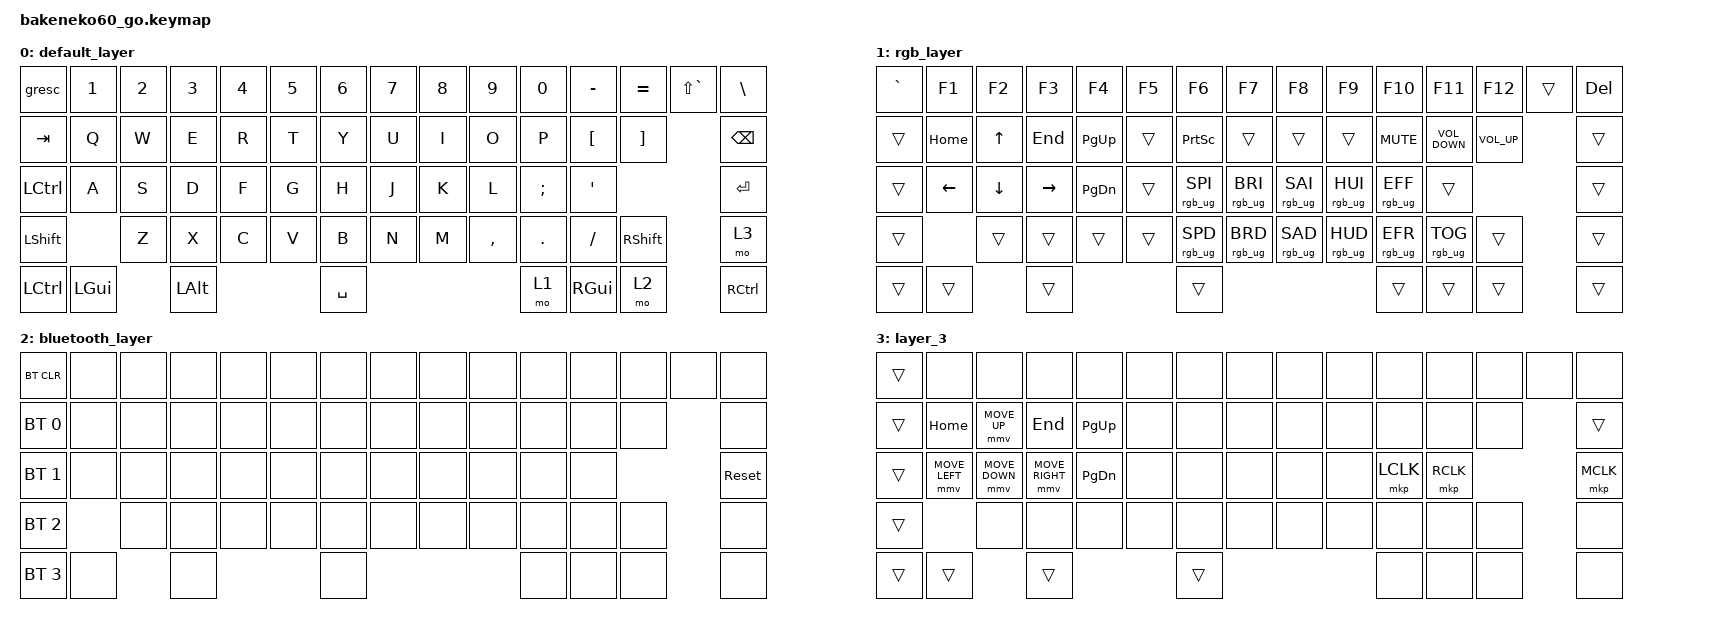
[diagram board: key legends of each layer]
/*
 * Copyright (c) 2023 Andrew Kannan
 *
 * SPDX-License-Identifier: MIT
 */

#include <behaviors.dtsi>
#include <dt-bindings/zmk/bt.h>
#include <dt-bindings/zmk/keys.h>
#include <dt-bindings/zmk/pointing.h>
#include <dt-bindings/zmk/rgb.h>

/ {
    keymap {
        compatible = "zmk,keymap";

        default_layer {
            // ------------------------------------------------------------------------------------------
            // | ESC |  1  |  2  |  3  |  4  |  5  |  6  |  7  |  8  |  9  |  0  |  -  |  =  | BKSP|BKSP|
            // | TAB  |  Q  |  W  |  E  |  R  |  T  |  Y  |  U  |  I  |  O  |  P  |  [  |  ]  |   "|"   |
            // | CAPS  |  A  |  S  |  D  |  F  |  G  |  H  |  J  |  K  |  L  |  ;  |  '  |     ENTER    |
            // |  SHIFT  |  Z  |  X  |  C  |  V  |  B  |  N  |  M  |  ,  |  .  |  /  |  SHIFT  | MO(1)  |
            // |  CTL  |  WIN  |  ALT  |            SPACE              |  ALT  |  WIN  |  MO(1) |  CTL  |
            // ------------------------------------------------------------------------------------------

            bindings = <
&gresc     &kp N1    &kp N2  &kp N3    &kp N4  &kp N5  &kp N6     &kp N7  &kp N8  &kp N9     &kp N0    &kp MINUS  &kp EQUAL  &kp LS(GRAVE)  &kp BACKSLASH
&kp TAB    &kp Q     &kp W   &kp E     &kp R   &kp T   &kp Y      &kp U   &kp I   &kp O      &kp P     &kp LBKT   &kp RBKT                  &kp BACKSPACE
&kp LCTRL  &kp A     &kp S   &kp D     &kp F   &kp G   &kp H      &kp J   &kp K   &kp L      &kp SEMI  &kp SQT                              &kp RET
&kp LSHFT            &kp Z   &kp X     &kp C   &kp V   &kp B      &kp N   &kp M   &kp COMMA  &kp DOT   &kp FSLH   &kp RSHFT                 &mo 3
&kp LCTRL  &kp LGUI          &kp LALT                  &kp SPACE                             &mo 1     &kp RGUI   &mo 2                     &kp RCTRL
            >;
        };

        rgb_layer {
            // ------------------------------------------------------------------------------------------------
            // |    `   | F1  | F2  | F3  | F4  | F5  | F6  | F7  | F8  | F9  | F10  | F11 | F12 |     | DEL  |
            // | EFCT REV|   |  UP |   | HUEUP | SATUP | BRIUP | SPDUP |      |  PGUP |    |     |    |       |
            // | EFCT FWD | LT |  DN  | RT | HUEDN | SATDN | BRIDN | SPDDN | HOME | PGDN | END  |  | BOOTLDR  |
            // |             |     |      |      |     |     |     |     |     |     |     |         |        |
            // |         |      |      |             TOG RGB                | PRT SCR |       |       |  MO(2)|
            // ------------------------------------------------------------------------------------------------

            bindings = <
&kp GRAVE  &kp F1    &kp F2    &kp F3     &kp F4         &kp F5  &kp F6           &kp F7           &kp F8           &kp F9           &kp F10          &kp F11            &kp F12          &trans  &kp DEL
&trans     &kp HOME  &kp UP    &kp END    &kp PAGE_UP    &trans  &kp PRINTSCREEN  &trans           &trans           &trans           &kp K_MUTE       &kp C_VOLUME_DOWN  &kp C_VOLUME_UP          &trans
&trans     &kp LEFT  &kp DOWN  &kp RIGHT  &kp PAGE_DOWN  &trans  &rgb_ug RGB_SPI  &rgb_ug RGB_BRI  &rgb_ug RGB_SAI  &rgb_ug RGB_HUI  &rgb_ug RGB_EFF  &trans                                      &trans
&trans               &trans    &trans     &trans         &trans  &rgb_ug RGB_SPD  &rgb_ug RGB_BRD  &rgb_ug RGB_SAD  &rgb_ug RGB_HUD  &rgb_ug RGB_EFR  &rgb_ug RGB_TOG    &trans                   &trans
&trans     &trans              &trans                            &trans                                                              &trans           &trans             &trans                   &trans
            >;
        };

        bluetooth_layer {
            // ------------------------------------------------------------------------------------------------
            // | BT CLR |     |     |     |     |     |     |     |     |     |     |    |    |       |       |
            // |  BT 1   |   |     |   |       |       |       |       |   |     |    |     |     |           |
            // |   BT 2   |    |      |    |       |       |       |       |      |      |      |  |   Reset  |
            // |    BT 3     |     |      |      |     |     |     |     |     |     |     |         |        |
            // |   BT 4  |      |      |                                    |         |       |       |       |
            // ------------------------------------------------------------------------------------------------

            bindings = <
&bt BT_CLR    &none  &none  &none  &none  &none  &none  &none  &none  &none  &none  &none  &none  &none  &none
&bt BT_SEL 0  &none  &none  &none  &none  &none  &none  &none  &none  &none  &none  &none  &none         &none
&bt BT_SEL 1  &none  &none  &none  &none  &none  &none  &none  &none  &none  &none  &none                &sys_reset
&bt BT_SEL 2         &none  &none  &none  &none  &none  &none  &none  &none  &none  &none  &none         &none
&bt BT_SEL 3  &none         &none                &none                       &none  &none  &none         &none
            >;
        };

        layer_3 {
            bindings = <
&trans  &none           &none           &none            &none          &none  &none   &none  &none  &none  &none      &none      &none  &none  &none
&trans  &kp HOME        &mmv MOVE_UP    &kp END          &kp PAGE_UP    &none  &none   &none  &none  &none  &none      &none      &none         &trans
&trans  &mmv MOVE_LEFT  &mmv MOVE_DOWN  &mmv MOVE_RIGHT  &kp PAGE_DOWN  &none  &none   &none  &none  &none  &mkp LCLK  &mkp RCLK                &mkp MCLK
&trans                  &none           &none            &none          &none  &none   &none  &none  &none  &none      &none      &none         &none
&trans  &trans                          &trans                                 &trans                       &none      &none      &none         &none
            >;
        };
    };

    combos {
        compatible = "zmk,combos";

        combo_bt {
            timeout-ms = <50>;
            key-positions = <61 62>;
            bindings = <&mo 2>;
        };
    };
};
